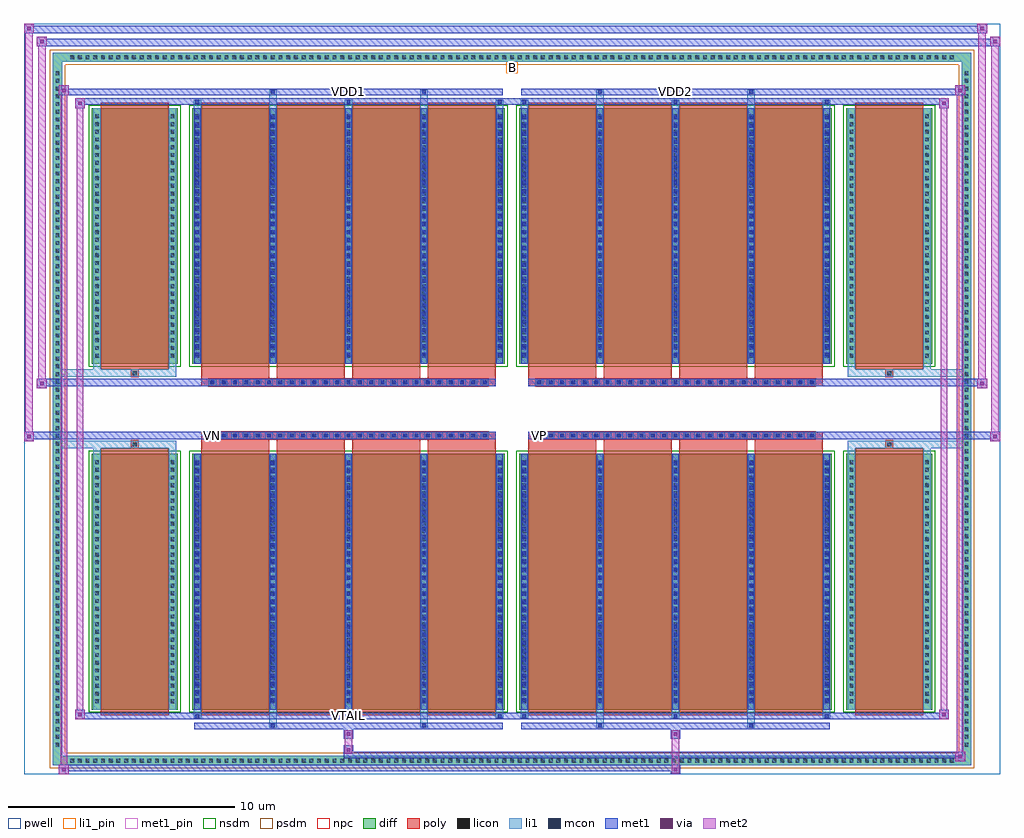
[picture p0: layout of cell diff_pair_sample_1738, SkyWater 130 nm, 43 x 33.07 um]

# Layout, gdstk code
import gdstk
lib = gdstk.Library(unit=1e-6, precision=5e-09)
def R(c, l, rs):  # rectangles x0, y0, x1, y1
    for r in rs: c.add(gdstk.rectangle(r[:2], r[2:], *l))
def A(c, l, x, y, w, h, nx, ny, dx, dy):  # array of equal rectangles
    R(c, l, [(x+i*dx, y+j*dy, x+i*dx+w, y+j*dy+h) for i in range(nx) for j in range(ny)])
def P(c, l, *ps):  # polygons
    for p in ps: c.add(gdstk.Polygon(p, *l))
pwell = (64, 44)
diff = (65, 20)
poly = (66, 20)
licon = (66, 44)
li1_pin = (67, 16)
li1 = (67, 20)
mcon = (67, 44)
met1_pin = (68, 16)
met1 = (68, 20)
via = (68, 44)
met2 = (69, 20)
nsdm = (93, 44)
psdm = (94, 20)
npc = (95, 20)

diff_pair_sample_1738 = lib.new_cell('diff_pair_sample_1738')
R(diff_pair_sample_1738, pwell, [(-21.5,-16.1,21.5,16.97), (-18.82,-14.29,-0.01,-0.805), (0.01,-14.29,18.82,-0.805), (-18.82,0.805,-0.01,14.29), (0.01,0.805,18.82,14.29)])
A(diff_pair_sample_1738, diff, -19.585, -15.7, 0.41, 0.41, 115, 2, 0.34, 30.99)
A(diff_pair_sample_1738, diff, -20.23, -14.995, 0.41, 0.41, 1, 88, 0, 0.34)
A(diff_pair_sample_1738, diff, 19.82, -14.995, 0.41, 0.41, 1, 88, 0, 0.34)
R(diff_pair_sample_1738, diff, [(-19.585,-15.7,19.585,-15.29), (-20.23,-14.995,-19.82,14.995), (19.82,-14.995,20.23,14.995), (-18.51,-13.245,-14.73,-1.985), (-14.09,-13.245,-0.32,-1.985), (0.32,-13.245,14.09,-1.985), (14.73,-13.245,18.51,-1.985), (-18.51,1.985,-14.73,13.245), (-14.09,1.985,-0.32,13.245), (0.32,1.985,14.09,13.245), (14.73,1.985,18.51,13.245), (-19.585,15.29,19.585,15.7)])
P(diff_pair_sample_1738, diff, [(20.23,15.7),(-20.23,15.7),(-20.23,-15.29),(-19.82,-15.29),(-19.82,15.29),(19.82,15.29),(19.82,-15.29),(-19.82,-15.29),(-20.23,-15.29),(-20.23,-15.7),(20.23,-15.7)])
A(diff_pair_sample_1738, poly, -13.7, -13.495, 3, 11.76, 4, 2, 3.33, 15.23)
A(diff_pair_sample_1738, poly, 0.71, -13.495, 3, 11.76, 4, 2, 3.33, 15.23)
A(diff_pair_sample_1738, poly, -13.7, -1.735, 3, 0.4, 4, 2, 3.33, 3.07)
A(diff_pair_sample_1738, poly, 0.71, -1.735, 3, 0.4, 4, 2, 3.33, 3.07)
A(diff_pair_sample_1738, poly, -13.37, -1.335, 0.33, 0.33, 25, 2, 0.5, 2.34)
A(diff_pair_sample_1738, poly, 1.04, -1.335, 0.33, 0.33, 25, 2, 0.5, 2.34)
R(diff_pair_sample_1738, poly, [(-18.12,-13.495,-15.12,-1.735), (15.12,-13.495,18.12,-1.735), (-16.785,-1.735,-16.455,-1.405), (-16.785,-1.735,-16.455,-1.405), (16.455,-1.735,16.785,-1.405), (16.455,-1.735,16.785,-1.405), (-13.7,-1.335,-0.71,-1.005), (0.71,-1.335,13.7,-1.005), (-13.7,1.005,-0.71,1.335), (0.71,1.005,13.7,1.335), (-16.785,1.405,-16.455,1.735), (-16.785,1.405,-16.455,1.735), (16.455,1.405,16.785,1.735), (16.455,1.405,16.785,1.735), (-18.12,1.735,-15.12,13.495), (15.12,1.735,18.12,13.495)])
A(diff_pair_sample_1738, licon, -19.465, -15.58, 0.17, 0.17, 115, 2, 0.34, 30.99)
A(diff_pair_sample_1738, licon, -20.11, -14.875, 0.17, 0.17, 1, 88, 0, 0.34)
A(diff_pair_sample_1738, licon, 19.94, -14.875, 0.17, 0.17, 1, 88, 0, 0.34)
A(diff_pair_sample_1738, licon, -18.37, -12.97, 0.17, 0.17, 1, 32, 0, 0.34)
A(diff_pair_sample_1738, licon, -15.04, -12.97, 0.17, 0.17, 1, 32, 0, 0.34)
A(diff_pair_sample_1738, licon, -13.95, -12.97, 0.17, 0.17, 5, 32, 3.33, 0.34)
A(diff_pair_sample_1738, licon, 0.46, -12.97, 0.17, 0.17, 5, 32, 3.33, 0.34)
A(diff_pair_sample_1738, licon, 14.87, -12.97, 0.17, 0.17, 1, 32, 0, 0.34)
A(diff_pair_sample_1738, licon, 18.2, -12.97, 0.17, 0.17, 1, 32, 0, 0.34)
A(diff_pair_sample_1738, licon, -13.29, -1.255, 0.17, 0.17, 25, 2, 0.5, 2.34)
A(diff_pair_sample_1738, licon, 1.12, -1.255, 0.17, 0.17, 25, 2, 0.5, 2.34)
A(diff_pair_sample_1738, licon, -18.37, 2.26, 0.17, 0.17, 1, 32, 0, 0.34)
A(diff_pair_sample_1738, licon, -15.04, 2.26, 0.17, 0.17, 1, 32, 0, 0.34)
A(diff_pair_sample_1738, licon, -13.95, 2.26, 0.17, 0.17, 5, 32, 3.33, 0.34)
A(diff_pair_sample_1738, licon, 0.46, 2.26, 0.17, 0.17, 5, 32, 3.33, 0.34)
A(diff_pair_sample_1738, licon, 14.87, 2.26, 0.17, 0.17, 1, 32, 0, 0.34)
A(diff_pair_sample_1738, licon, 18.2, 2.26, 0.17, 0.17, 1, 32, 0, 0.34)
R(diff_pair_sample_1738, licon, [(-16.705,-1.655,-16.535,-1.485), (16.535,-1.655,16.705,-1.485), (-16.705,1.485,-16.535,1.655), (16.535,1.485,16.705,1.655)])
R(diff_pair_sample_1738, li1_pin, [(-0.25,14.79,0.25,15.29)])
A(diff_pair_sample_1738, li1, -19.545, -15.66, 0.33, 0.33, 115, 2, 0.34, 30.99)
A(diff_pair_sample_1738, li1, -20.19, -14.955, 0.33, 0.33, 1, 88, 0, 0.34)
A(diff_pair_sample_1738, li1, 19.86, -14.955, 0.33, 0.33, 1, 88, 0, 0.34)
A(diff_pair_sample_1738, li1, -14.03, -13.62, 0.33, 0.375, 3, 2, 6.66, 26.865)
A(diff_pair_sample_1738, li1, -13.95, -13.62, 0.17, 0.17, 3, 2, 6.66, 27.07)
A(diff_pair_sample_1738, li1, 0.38, -13.62, 0.33, 0.375, 3, 2, 6.66, 26.865)
A(diff_pair_sample_1738, li1, 0.46, -13.62, 0.17, 0.17, 3, 2, 6.66, 27.07)
A(diff_pair_sample_1738, li1, -14.03, -13.245, 0.33, 11.26, 5, 2, 3.33, 15.23)
A(diff_pair_sample_1738, li1, 0.38, -13.245, 0.33, 11.26, 5, 2, 3.33, 15.23)
A(diff_pair_sample_1738, li1, -18.45, -13.05, 0.33, 0.33, 1, 32, 0, 0.34)
A(diff_pair_sample_1738, li1, -15.12, -13.05, 0.33, 0.33, 1, 32, 0, 0.34)
A(diff_pair_sample_1738, li1, -14.03, -13.05, 0.33, 0.33, 5, 32, 3.33, 0.34)
A(diff_pair_sample_1738, li1, 0.38, -13.05, 0.33, 0.33, 5, 32, 3.33, 0.34)
A(diff_pair_sample_1738, li1, 14.79, -13.05, 0.33, 0.33, 1, 32, 0, 0.34)
A(diff_pair_sample_1738, li1, 18.12, -13.05, 0.33, 0.33, 1, 32, 0, 0.34)
A(diff_pair_sample_1738, li1, -13.95, -12.92, 0.17, 0.17, 5, 30, 3.33, 0.36)
A(diff_pair_sample_1738, li1, -13.95, -12.92, 0.17, 10.61, 5, 2, 3.33, 15.23)
A(diff_pair_sample_1738, li1, 0.46, -12.92, 0.17, 0.17, 5, 30, 3.33, 0.36)
A(diff_pair_sample_1738, li1, 0.46, -12.92, 0.17, 10.61, 5, 2, 3.33, 15.23)
A(diff_pair_sample_1738, li1, -13.37, -1.335, 0.33, 0.33, 25, 2, 0.5, 2.34)
A(diff_pair_sample_1738, li1, 1.04, -1.335, 0.33, 0.33, 25, 2, 0.5, 2.34)
A(diff_pair_sample_1738, li1, -18.45, 2.18, 0.33, 0.33, 1, 32, 0, 0.34)
A(diff_pair_sample_1738, li1, -15.12, 2.18, 0.33, 0.33, 1, 32, 0, 0.34)
A(diff_pair_sample_1738, li1, -14.03, 2.18, 0.33, 0.33, 5, 32, 3.33, 0.34)
A(diff_pair_sample_1738, li1, 0.38, 2.18, 0.33, 0.33, 5, 32, 3.33, 0.34)
A(diff_pair_sample_1738, li1, 14.79, 2.18, 0.33, 0.33, 1, 32, 0, 0.34)
A(diff_pair_sample_1738, li1, 18.12, 2.18, 0.33, 0.33, 1, 32, 0, 0.34)
A(diff_pair_sample_1738, li1, -13.95, 2.31, 0.17, 0.17, 5, 30, 3.33, 0.36)
A(diff_pair_sample_1738, li1, 0.46, 2.31, 0.17, 0.17, 5, 30, 3.33, 0.36)
R(diff_pair_sample_1738, li1, [(-20.23,-15.7,-19.82,-15.29), (-20.23,-15.7,-19.82,-15.29), (-19.82,-15.7,19.82,-15.29), (19.82,-15.7,20.23,-15.29), (19.82,-15.7,20.23,-15.29), (-20.23,-15.29,-19.82,15.29), (19.82,-15.29,20.23,15.29), (-10.7,-14.05,-10.37,-13.245), (-10.62,-14.05,-10.45,-13.88), (-4.04,-14.05,-3.71,-13.245), (-3.96,-14.05,-3.79,-13.88), (3.71,-14.05,4.04,-13.245), (3.79,-14.05,3.96,-13.88), (10.37,-14.05,10.7,-13.245), (10.45,-14.05,10.62,-13.88), (-18.45,-13.245,-18.12,-1.985), (-15.12,-13.245,-14.79,-1.985), (14.79,-13.245,15.12,-1.985), (18.12,-13.245,18.45,-1.985), (-18.45,-1.985,-18.12,-1.405), (-15.12,-1.985,-14.79,-1.405), (14.79,-1.985,15.12,-1.405), (18.12,-1.985,18.45,-1.405), (-20.23,-1.735,-16.785,-1.405), (-18.45,-1.735,-16.785,-1.405), (-16.785,-1.735,-16.455,-1.405), (-16.455,-1.735,-14.79,-1.405), (14.79,-1.735,16.455,-1.405), (16.455,-1.735,16.785,-1.405), (16.455,-1.735,20.23,-1.405), (16.785,-1.735,18.45,-1.405), (-20.23,1.405,-16.785,1.735), (-18.45,1.405,-16.785,1.735), (-18.45,1.405,-18.12,1.985), (-16.785,1.405,-16.455,1.735), (-16.455,1.405,-14.79,1.735), (-15.12,1.405,-14.79,1.985), (14.79,1.405,16.455,1.735), (14.79,1.405,15.12,1.985), (16.455,1.405,16.785,1.735), (16.455,1.405,20.23,1.735), (16.785,1.405,18.45,1.735), (18.12,1.405,18.45,1.985), (-18.45,1.985,-18.12,13.245), (-15.12,1.985,-14.79,13.245), (14.79,1.985,15.12,13.245), (18.12,1.985,18.45,13.245), (-10.7,13.245,-10.37,14.05), (-4.04,13.245,-3.71,14.05), (3.71,13.245,4.04,14.05), (10.37,13.245,10.7,14.05), (-10.62,13.88,-10.45,14.05), (-3.96,13.88,-3.79,14.05), (3.79,13.88,3.96,14.05), (10.45,13.88,10.62,14.05), (-20.23,15.29,-19.82,15.7), (-20.23,15.29,-19.82,15.7), (-19.82,15.29,19.82,15.7), (19.82,15.29,20.23,15.7), (19.82,15.29,20.23,15.7)])
A(diff_pair_sample_1738, mcon, -13.95, -13.62, 0.17, 0.17, 3, 2, 6.66, 27.07)
A(diff_pair_sample_1738, mcon, 0.46, -13.62, 0.17, 0.17, 3, 2, 6.66, 27.07)
A(diff_pair_sample_1738, mcon, -13.95, -12.92, 0.17, 0.17, 5, 30, 3.33, 0.36)
A(diff_pair_sample_1738, mcon, 0.46, -12.92, 0.17, 0.17, 5, 30, 3.33, 0.36)
A(diff_pair_sample_1738, mcon, -13.29, -1.255, 0.17, 0.17, 25, 2, 0.5, 2.34)
A(diff_pair_sample_1738, mcon, 1.12, -1.255, 0.17, 0.17, 25, 2, 0.5, 2.34)
A(diff_pair_sample_1738, mcon, -13.95, 2.31, 0.17, 0.17, 5, 30, 3.33, 0.36)
A(diff_pair_sample_1738, mcon, 0.46, 2.31, 0.17, 0.17, 5, 30, 3.33, 0.36)
R(diff_pair_sample_1738, mcon, [(-10.62,-14.05,-10.45,-13.88), (-3.96,-14.05,-3.79,-13.88), (3.79,-14.05,3.96,-13.88), (10.45,-14.05,10.62,-13.88), (-10.62,13.88,-10.45,14.05), (-3.96,13.88,-3.79,14.05), (3.79,13.88,3.96,14.05), (10.45,13.88,10.62,14.05)])
R(diff_pair_sample_1738, met1_pin, [(-7.34,-13.66,-7.07,-13.39), (-13.34,-1.295,-13.07,-1.025), (1.07,-1.295,1.34,-1.025), (-7.34,13.84,-7.07,14.11), (7.07,13.84,7.34,14.11)])
A(diff_pair_sample_1738, met1, -14.01, -13.68, 0.29, 0.29, 3, 2, 6.66, 27.07)
A(diff_pair_sample_1738, met1, 0.4, -13.68, 0.29, 0.29, 3, 2, 6.66, 27.07)
A(diff_pair_sample_1738, met1, -14.01, -13.245, 0.29, 11.26, 5, 2, 3.33, 15.23)
A(diff_pair_sample_1738, met1, 0.4, -13.245, 0.29, 11.26, 5, 2, 3.33, 15.23)
A(diff_pair_sample_1738, met1, -14.01, -12.98, 0.29, 0.29, 5, 30, 3.33, 0.36)
A(diff_pair_sample_1738, met1, 0.4, -12.98, 0.29, 0.29, 5, 30, 3.33, 0.36)
A(diff_pair_sample_1738, met1, -13.35, -1.315, 0.29, 0.29, 25, 2, 0.5, 2.34)
A(diff_pair_sample_1738, met1, 1.06, -1.315, 0.29, 0.29, 25, 2, 0.5, 2.34)
A(diff_pair_sample_1738, met1, -14.01, 2.25, 0.29, 0.29, 5, 30, 3.33, 0.36)
A(diff_pair_sample_1738, met1, 0.4, 2.25, 0.29, 0.29, 5, 30, 3.33, 0.36)
R(diff_pair_sample_1738, met1, [(-19.96,-16.1,-19.53,-15.67), (6.99,-16.1,7.42,-15.67), (-19.96,-15.96,7.42,-15.67), (19.53,-15.53,19.96,-15.1), (-7.42,-15.39,19.96,-15.1), (-7.42,-15.25,-6.99,-14.82), (-7.42,-14.54,-6.99,-14.11), (6.99,-14.54,7.42,-14.11), (-14.01,-14.11,-0.4,-13.82), (-10.68,-14.11,-10.39,-13.82), (-4.02,-14.11,-3.73,-13.82), (0.4,-14.11,14.01,-13.82), (3.73,-14.11,4.02,-13.82), (10.39,-14.11,10.68,-13.82), (-19.25,-13.68,-18.82,-13.25), (-19.25,-13.68,-14.01,-13.39), (-14.01,-13.68,-0.4,-13.39), (-0.4,-13.68,0.4,-13.39), (0.4,-13.68,14.01,-13.39), (14.01,-13.68,19.25,-13.39), (18.82,-13.68,19.25,-13.25), (-21.5,-1.435,-21.07,-1.005), (21.07,-1.435,21.5,-1.005), (-21.5,-1.335,-0.71,-1.005), (-13.7,-1.335,-0.71,-1.005), (0.71,-1.335,13.7,-1.005), (0.71,-1.335,21.5,-1.005), (-20.93,0.905,-20.5,1.335), (20.5,0.905,20.93,1.335), (-20.93,1.005,-13.7,1.335), (-13.7,1.005,-0.71,1.335), (0.71,1.005,13.7,1.335), (13.7,1.005,20.93,1.335), (-19.25,13.25,-18.82,13.68), (18.82,13.25,19.25,13.68), (-19.25,13.39,-14.01,13.68), (-14.01,13.39,-0.4,13.68), (-0.4,13.39,0.4,13.68), (0.4,13.39,14.01,13.68), (14.01,13.39,19.25,13.68), (-19.96,13.82,-19.53,14.25), (-19.96,13.82,-14.01,14.11), (-14.01,13.82,-0.4,14.11), (-10.68,13.82,-10.39,14.11), (-4.02,13.82,-3.73,14.11), (0.4,13.82,14.01,14.11), (3.73,13.82,4.02,14.11), (10.39,13.82,10.68,14.11), (14.01,13.82,19.96,14.11), (19.53,13.82,19.96,14.25), (-20.93,15.97,-20.5,16.4), (-20.93,15.97,-18.82,16.3), (-18.82,15.97,18.82,16.3), (18.82,15.97,21.5,16.3), (21.07,15.97,21.5,16.4), (-21.5,16.54,-21.07,16.97), (-21.5,16.54,-18.82,16.87), (-18.82,16.54,18.82,16.87), (18.82,16.54,20.93,16.87), (20.5,16.54,20.93,16.97)])
R(diff_pair_sample_1738, via, [(-19.82,-15.96,-19.67,-15.81), (7.13,-15.96,7.28,-15.81), (19.67,-15.39,19.82,-15.24), (-7.28,-15.11,-7.13,-14.96), (-7.28,-14.4,-7.13,-14.25), (7.13,-14.4,7.28,-14.25), (-19.11,-13.54,-18.96,-13.39), (18.96,-13.54,19.11,-13.39), (-21.36,-1.295,-21.21,-1.145), (21.21,-1.295,21.36,-1.145), (-20.79,1.045,-20.64,1.195), (20.64,1.045,20.79,1.195), (-19.11,13.39,-18.96,13.54), (18.96,13.39,19.11,13.54), (-19.82,13.96,-19.67,14.11), (19.67,13.96,19.82,14.11), (-20.79,16.11,-20.64,16.26), (21.21,16.11,21.36,16.26), (-21.36,16.68,-21.21,16.83), (20.64,16.68,20.79,16.83)])
R(diff_pair_sample_1738, met2, [(-19.96,-16.1,-19.53,-15.67), (-19.89,-16.1,-19.6,14.25), (-19.6,-16.1,-19.53,-15.67), (-19.91,-16.05,-19.58,-15.72), (7.04,-16.05,7.37,-15.72), (7.04,-15.72,7.37,-14.49), (19.53,-15.53,19.96,-15.1), (19.6,-15.53,19.89,14.25), (19.89,-15.53,19.96,-15.1), (19.58,-15.48,19.91,-15.15), (-7.37,-15.2,-7.04,-14.87), (-7.37,-14.87,-7.04,-14.49), (-7.37,-14.49,-7.04,-14.16), (7.04,-14.49,7.37,-14.16), (-19.25,-13.68,-18.82,-13.25), (-19.18,-13.68,-18.89,13.68), (-18.89,-13.68,-18.82,-13.25), (18.82,-13.68,19.25,-13.25), (18.89,-13.68,19.18,13.68), (19.18,-13.68,19.25,-13.25), (-19.2,-13.63,-18.87,-13.3), (18.87,-13.63,19.2,-13.3), (-21.5,-1.435,-21.07,-1.005), (-21.45,-1.435,-21.12,16.97), (-21.12,-1.435,-21.07,-1.005), (21.07,-1.435,21.5,-1.005), (21.12,-1.435,21.45,16.4), (21.45,-1.435,21.5,-1.005), (-21.45,-1.385,-21.12,-1.055), (21.12,-1.385,21.45,-1.055), (-20.93,0.905,-20.5,1.335), (-20.88,0.905,-20.55,16.4), (-20.55,0.905,-20.5,1.335), (20.5,0.905,20.93,1.335), (20.55,0.905,20.88,16.97), (20.88,0.905,20.93,1.335), (-20.88,0.955,-20.55,1.285), (20.55,0.955,20.88,1.285), (-19.25,13.25,-18.82,13.68), (-18.89,13.25,-18.82,13.68), (18.82,13.25,19.25,13.68), (19.18,13.25,19.25,13.68), (-19.2,13.3,-18.87,13.63), (18.87,13.3,19.2,13.63), (-19.96,13.82,-19.53,14.25), (-19.6,13.82,-19.53,14.25), (19.53,13.82,19.96,14.25), (19.89,13.82,19.96,14.25), (-19.91,13.87,-19.58,14.2), (19.58,13.87,19.91,14.2), (-20.93,15.97,-20.5,16.4), (-20.55,15.97,-20.5,16.4), (21.07,15.97,21.5,16.4), (21.45,15.97,21.5,16.4), (-20.88,16.02,-20.55,16.35), (21.12,16.02,21.45,16.35), (-21.5,16.54,-21.07,16.97), (-21.12,16.54,-21.07,16.97), (20.5,16.54,20.93,16.97), (20.88,16.54,20.93,16.97), (-21.45,16.59,-21.12,16.92), (20.55,16.59,20.88,16.92)])
R(diff_pair_sample_1738, nsdm, [(-18.64,-13.375,-14.6,-1.855), (-14.22,-13.375,-0.19,-1.855), (0.19,-13.375,14.22,-1.855), (14.6,-13.375,18.64,-1.855), (-18.64,1.855,-14.6,13.375), (-14.22,1.855,-0.19,13.375), (0.19,1.855,14.22,13.375), (14.6,1.855,18.64,13.375)])
P(diff_pair_sample_1738, psdm, [(20.36,15.83),(-20.36,15.83),(-20.36,-15.16),(-19.69,-15.16),(-19.69,15.16),(19.69,15.16),(19.69,-15.16),(-19.69,-15.16),(-20.36,-15.16),(-20.36,-15.83),(20.36,-15.83)])
A(diff_pair_sample_1738, npc, -13.39, -1.355, 0.37, 0.37, 25, 2, 0.5, 2.34)
A(diff_pair_sample_1738, npc, 1.02, -1.355, 0.37, 0.37, 25, 2, 0.5, 2.34)
R(diff_pair_sample_1738, npc, [(-16.805,-1.755,-16.435,-1.385), (16.435,-1.755,16.805,-1.385), (-13.39,-1.355,-12.52,-0.985), (-13.39,-1.355,-12.52,-0.985), (-12.89,-1.355,-12.02,-0.985), (-12.89,-1.355,-12.02,-0.985), (-12.39,-1.355,-11.52,-0.985), (-12.39,-1.355,-11.52,-0.985), (-11.89,-1.355,-11.02,-0.985), (-11.89,-1.355,-11.02,-0.985), (-11.39,-1.355,-10.52,-0.985), (-11.39,-1.355,-10.52,-0.985), (-10.89,-1.355,-10.02,-0.985), (-10.89,-1.355,-10.02,-0.985), (-10.39,-1.355,-9.52,-0.985), (-10.39,-1.355,-9.52,-0.985), (-9.89,-1.355,-9.02,-0.985), (-9.89,-1.355,-9.02,-0.985), (-9.39,-1.355,-8.52,-0.985), (-9.39,-1.355,-8.52,-0.985), (-8.89,-1.355,-8.02,-0.985), (-8.89,-1.355,-8.02,-0.985), (-8.39,-1.355,-7.52,-0.985), (-8.39,-1.355,-7.52,-0.985), (-7.89,-1.355,-7.02,-0.985), (-7.89,-1.355,-7.02,-0.985), (-7.39,-1.355,-6.52,-0.985), (-7.39,-1.355,-6.52,-0.985), (-6.89,-1.355,-6.02,-0.985), (-6.89,-1.355,-6.02,-0.985), (-6.39,-1.355,-5.52,-0.985), (-6.39,-1.355,-5.52,-0.985), (-5.89,-1.355,-5.02,-0.985), (-5.89,-1.355,-5.02,-0.985), (-5.39,-1.355,-4.52,-0.985), (-5.39,-1.355,-4.52,-0.985), (-4.89,-1.355,-4.02,-0.985), (-4.89,-1.355,-4.02,-0.985), (-4.39,-1.355,-3.52,-0.985), (-4.39,-1.355,-3.52,-0.985), (-3.89,-1.355,-3.02,-0.985), (-3.89,-1.355,-3.02,-0.985), (-3.39,-1.355,-2.52,-0.985), (-3.39,-1.355,-2.52,-0.985), (-2.89,-1.355,-2.02,-0.985), (-2.89,-1.355,-2.02,-0.985), (-2.39,-1.355,-1.52,-0.985), (-2.39,-1.355,-1.52,-0.985), (-1.89,-1.355,-1.02,-0.985), (-1.89,-1.355,-1.02,-0.985), (1.02,-1.355,1.89,-0.985), (1.02,-1.355,1.89,-0.985), (1.52,-1.355,2.39,-0.985), (1.52,-1.355,2.39,-0.985), (2.02,-1.355,2.89,-0.985), (2.02,-1.355,2.89,-0.985), (2.52,-1.355,3.39,-0.985), (2.52,-1.355,3.39,-0.985), (3.02,-1.355,3.89,-0.985), (3.02,-1.355,3.89,-0.985), (3.52,-1.355,4.39,-0.985), (3.52,-1.355,4.39,-0.985), (4.02,-1.355,4.89,-0.985), (4.02,-1.355,4.89,-0.985), (4.52,-1.355,5.39,-0.985), (4.52,-1.355,5.39,-0.985), (5.02,-1.355,5.89,-0.985), (5.02,-1.355,5.89,-0.985), (5.52,-1.355,6.39,-0.985), (5.52,-1.355,6.39,-0.985), (6.02,-1.355,6.89,-0.985), (6.02,-1.355,6.89,-0.985), (6.52,-1.355,7.39,-0.985), (6.52,-1.355,7.39,-0.985), (7.02,-1.355,7.89,-0.985), (7.02,-1.355,7.89,-0.985), (7.52,-1.355,8.39,-0.985), (7.52,-1.355,8.39,-0.985), (8.02,-1.355,8.89,-0.985), (8.02,-1.355,8.89,-0.985), (8.52,-1.355,9.39,-0.985), (8.52,-1.355,9.39,-0.985), (9.02,-1.355,9.89,-0.985), (9.02,-1.355,9.89,-0.985), (9.52,-1.355,10.39,-0.985), (9.52,-1.355,10.39,-0.985), (10.02,-1.355,10.89,-0.985), (10.02,-1.355,10.89,-0.985), (10.52,-1.355,11.39,-0.985), (10.52,-1.355,11.39,-0.985), (11.02,-1.355,11.89,-0.985), (11.02,-1.355,11.89,-0.985), (11.52,-1.355,12.39,-0.985), (11.52,-1.355,12.39,-0.985), (12.02,-1.355,12.89,-0.985), (12.02,-1.355,12.89,-0.985), (12.52,-1.355,13.39,-0.985), (12.52,-1.355,13.39,-0.985), (-13.39,0.985,-12.52,1.355), (-13.39,0.985,-12.52,1.355), (-12.89,0.985,-12.02,1.355), (-12.89,0.985,-12.02,1.355), (-12.39,0.985,-11.52,1.355), (-12.39,0.985,-11.52,1.355), (-11.89,0.985,-11.02,1.355), (-11.89,0.985,-11.02,1.355), (-11.39,0.985,-10.52,1.355), (-11.39,0.985,-10.52,1.355), (-10.89,0.985,-10.02,1.355), (-10.89,0.985,-10.02,1.355), (-10.39,0.985,-9.52,1.355), (-10.39,0.985,-9.52,1.355), (-9.89,0.985,-9.02,1.355), (-9.89,0.985,-9.02,1.355), (-9.39,0.985,-8.52,1.355), (-9.39,0.985,-8.52,1.355), (-8.89,0.985,-8.02,1.355), (-8.89,0.985,-8.02,1.355), (-8.39,0.985,-7.52,1.355), (-8.39,0.985,-7.52,1.355), (-7.89,0.985,-7.02,1.355), (-7.89,0.985,-7.02,1.355), (-7.39,0.985,-6.52,1.355), (-7.39,0.985,-6.52,1.355), (-6.89,0.985,-6.02,1.355), (-6.89,0.985,-6.02,1.355), (-6.39,0.985,-5.52,1.355), (-6.39,0.985,-5.52,1.355), (-5.89,0.985,-5.02,1.355), (-5.89,0.985,-5.02,1.355), (-5.39,0.985,-4.52,1.355), (-5.39,0.985,-4.52,1.355), (-4.89,0.985,-4.02,1.355), (-4.89,0.985,-4.02,1.355), (-4.39,0.985,-3.52,1.355), (-4.39,0.985,-3.52,1.355), (-3.89,0.985,-3.02,1.355), (-3.89,0.985,-3.02,1.355), (-3.39,0.985,-2.52,1.355), (-3.39,0.985,-2.52,1.355), (-2.89,0.985,-2.02,1.355), (-2.89,0.985,-2.02,1.355), (-2.39,0.985,-1.52,1.355), (-2.39,0.985,-1.52,1.355), (-1.89,0.985,-1.02,1.355), (-1.89,0.985,-1.02,1.355), (1.02,0.985,1.89,1.355), (1.02,0.985,1.89,1.355), (1.52,0.985,2.39,1.355), (1.52,0.985,2.39,1.355), (2.02,0.985,2.89,1.355), (2.02,0.985,2.89,1.355), (2.52,0.985,3.39,1.355), (2.52,0.985,3.39,1.355), (3.02,0.985,3.89,1.355), (3.02,0.985,3.89,1.355), (3.52,0.985,4.39,1.355), (3.52,0.985,4.39,1.355), (4.02,0.985,4.89,1.355), (4.02,0.985,4.89,1.355), (4.52,0.985,5.39,1.355), (4.52,0.985,5.39,1.355), (5.02,0.985,5.89,1.355), (5.02,0.985,5.89,1.355), (5.52,0.985,6.39,1.355), (5.52,0.985,6.39,1.355), (6.02,0.985,6.89,1.355), (6.02,0.985,6.89,1.355), (6.52,0.985,7.39,1.355), (6.52,0.985,7.39,1.355), (7.02,0.985,7.89,1.355), (7.02,0.985,7.89,1.355), (7.52,0.985,8.39,1.355), (7.52,0.985,8.39,1.355), (8.02,0.985,8.89,1.355), (8.02,0.985,8.89,1.355), (8.52,0.985,9.39,1.355), (8.52,0.985,9.39,1.355), (9.02,0.985,9.89,1.355), (9.02,0.985,9.89,1.355), (9.52,0.985,10.39,1.355), (9.52,0.985,10.39,1.355), (10.02,0.985,10.89,1.355), (10.02,0.985,10.89,1.355), (10.52,0.985,11.39,1.355), (10.52,0.985,11.39,1.355), (11.02,0.985,11.89,1.355), (11.02,0.985,11.89,1.355), (11.52,0.985,12.39,1.355), (11.52,0.985,12.39,1.355), (12.02,0.985,12.89,1.355), (12.02,0.985,12.89,1.355), (12.52,0.985,13.39,1.355), (12.52,0.985,13.39,1.355), (-16.805,1.385,-16.435,1.755), (16.435,1.385,16.805,1.755)])
diff_pair_sample_1738.add(gdstk.Label('VTAIL', (-7.205,-13.525), layer=68, texttype=5))
diff_pair_sample_1738.add(gdstk.Label('VN', (-13.205,-1.16), layer=68, texttype=5))
diff_pair_sample_1738.add(gdstk.Label('VP', (1.205,-1.16), layer=68, texttype=5))
diff_pair_sample_1738.add(gdstk.Label('B', (0,15.04), layer=67, texttype=5))
diff_pair_sample_1738.add(gdstk.Label('VDD2', (7.205,13.975), layer=68, texttype=5))
diff_pair_sample_1738.add(gdstk.Label('VDD1', (-7.205,13.975), layer=68, texttype=5))

lib.write_gds('diff_pair_sample_1738.gds')
